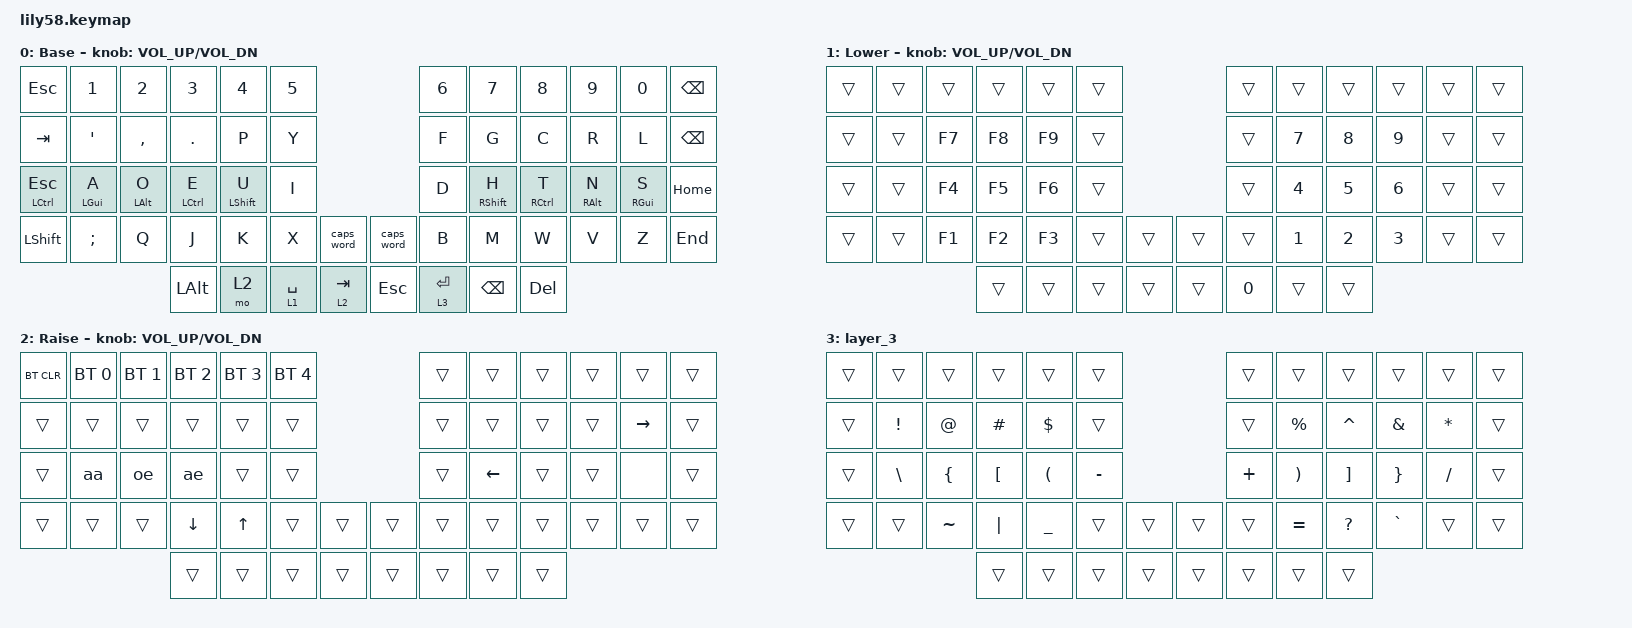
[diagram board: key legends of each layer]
/*
 * Copyright (c) 2020 The ZMK Contributors
 *
 * SPDX-License-Identifier: MIT
 */

#include <behaviors.dtsi>
#include <dt-bindings/zmk/bt.h>
#include <dt-bindings/zmk/keys.h>

&mt {
    hold-trigger-key-positions = <>;
    require-prior-idle-ms = <50>;
    quick-tap-ms = <0>;
    tapping-term-ms = <150>;
    flavor = "balanced";
};

/ {
    behaviors {
        mod: mod {
            compatible = "zmk,behavior-hold-tap";
            label = "MOD";
            bindings = <&mo>, <&kp>;

            #binding-cells = <2>;
            tapping-term-ms = <150>;
            quick-tap-ms = <50>;
            require-prior-idle-ms = <50>;
        };
    };

    macros {
        ae: ae {
            compatible = "zmk,behavior-macro";
            #binding-cells = <0>;
            bindings =
                <&macro_press>,
                <&kp LEFT_ALT>,
                <&macro_tap>,
                <&kp KP_N0 &kp KP_NUMBER_2 &kp KP_NUMBER_3 &kp KP_N0>,
                <&macro_release>,
                <&kp LEFT_ALT>;

            label = "AE";
            wait-ms = <1>;
            tap-ms = <1>;
        };

        aa: aa {
            compatible = "zmk,behavior-macro";
            #binding-cells = <0>;
            bindings =
                <&macro_press>,
                <&kp LEFT_ALT>,
                <&macro_tap>,
                <&kp KP_N0 &kp KP_NUMBER_2 &kp KP_NUMBER_2 &kp KP_NUMBER_9>,
                <&macro_release>,
                <&kp LEFT_ALT>;

            label = "AA";
            wait-ms = <1>;
            tap-ms = <1>;
        };

        oe: oe {
            compatible = "zmk,behavior-macro";
            #binding-cells = <0>;
            bindings =
                <&macro_press>,
                <&kp LEFT_ALT>,
                <&macro_tap>,
                <&kp KP_N0 &kp KP_NUMBER_2 &kp KP_NUMBER_4 &kp KP_NUMBER_8>,
                <&macro_release>,
                <&kp LEFT_ALT>;

            label = "OE";
            wait-ms = <1>;
            tap-ms = <1>;
        };
    };

    keymap {
        compatible = "zmk,keymap";

        default_layer {
            // ------------------------------------------------------------------------------------------------------------
            // |  ESC  |  1  |  2  |  3   |  4   |  5   |                   |  6   |  7    |  8    |  9   |   0   |   `   |
            // |  TAB  |  Q  |  W  |  E   |  R   |  T   |                   |  Y   |  U    |  I    |  O   |   P   |   -   |
            // |  CTRL |  A  |  S  |  D   |  F   |  G   |                   |  H   |  J    |  K    |  L   |   ;   |   '   |
            // | SHIFT |  Z  |  X  |  C   |  V   |  B   |   "["  |  |  "]"  |  N   |  M    |  ,    |  .   |   /   | SHIFT |
            //                     | ALT  | GUI  | LOWER|  SPACE |  | ENTER | RAISE| BSPC  | GUI   |

            label = "Base";
            bindings = <
&kp ESC                  &kp N1          &kp N2          &kp N3              &kp N4            &kp N5                                  &kp N6        &kp N7             &kp N8               &kp N9           &kp N0           &kp BACKSPACE
&kp TAB                  &kp SQT         &kp COMMA       &kp PERIOD          &kp P             &kp Y                                   &kp F         &kp G              &kp C                &kp R            &kp L            &kp BACKSPACE
&mt LEFT_CONTROL ESCAPE  &mt LEFT_GUI A  &mt LEFT_ALT O  &mt LEFT_CONTROL E  &mt LEFT_SHIFT U  &kp I                                   &kp D         &mt RIGHT_SHIFT H  &mt RIGHT_CONTROL T  &mt RIGHT_ALT N  &mt RIGHT_GUI S  &kp HOME
&kp LSHFT                &kp SEMICOLON   &kp Q           &kp J               &kp K             &kp X         &caps_word    &caps_word  &kp B         &kp M              &kp W                &kp V            &kp Z            &kp END
                                                         &kp LALT            &mo 2             &mod 1 SPACE  &mod 2 TAB    &kp ESC     &mod 3 ENTER  &kp BSPC           &kp DEL
            >;

            sensor-bindings = <&inc_dec_kp C_VOL_UP C_VOL_DN>;
        };

        lower_layer {
            // ------------------------------------------------------------------------------------------------------------
            // | BTCLR | BT1 | BT2 |  BT3 |  BT4 |  BT5 |                   |      |       |       |      |       |       |
            // |  F1   |  F2 |  F3 |  F4  |  F5  |  F6  |                   |  F7  |  F8   |  F9   |  F10 |  F11  |  F12  |
            // |   `   |  !  |  @  |  #   |  $   |  %   |                   |  ^   |  &    |  *    |  (   |   )   |   ~   |
            // |       |     |     |      |      |      |        |  |       |      |  _    |  +    |  {   |   }   |  "|"  |
            //                     |      |      |      |        |  |       |      |       |       |

            label = "Lower";
            bindings = <
&trans  &trans  &trans  &trans  &trans  &trans                    &trans        &trans        &trans        &trans        &trans  &trans
&trans  &trans  &kp F7  &kp F8  &kp F9  &trans                    &trans        &kp N7        &kp N8        &kp N9        &trans  &trans
&trans  &trans  &kp F4  &kp F5  &kp F6  &trans                    &trans        &kp NUMBER_4  &kp N5        &kp NUMBER_6  &trans  &trans
&trans  &trans  &kp F1  &kp F2  &kp F3  &trans  &trans    &trans  &trans        &kp NUMBER_1  &kp NUMBER_2  &kp NUMBER_3  &trans  &trans
                        &trans  &trans  &trans  &trans    &trans  &kp NUMBER_0  &trans        &trans
            >;

            sensor-bindings = <&inc_dec_kp C_VOL_UP C_VOL_DN>;
        };

        raise_layer {
            // ------------------------------------------------------------------------------------------------------------
            // |       |     |     |      |      |      |                   |      |       |       |      |       |       |
            // |   `   |  1  |  2  |  3   |  4   |  5   |                   |  6   |   7   |   8   |  9   |   0   |       |
            // |   F1  |  F2 |  F3 |  F4  |  F5  |  F6  |                   |      |   <-  |   v   |  ^   |  ->   |       |
            // |   F7  |  F8 |  F9 |  F10 |  F11 |  F12 |        |  |       |  +   |   -   |   =   |  [   |   ]   |   \   |
            //                     |      |      |      |        |  |       |      |       |       |

            label = "Raise";
            bindings = <
&bt BT_CLR  &bt BT_SEL 0  &bt BT_SEL 1  &bt BT_SEL 2    &bt BT_SEL 3  &bt BT_SEL 4                    &trans  &trans    &trans  &trans  &trans     &trans
&trans      &trans        &trans        &trans          &trans        &trans                          &trans  &trans    &trans  &trans  &kp RIGHT  &trans
&trans      &aa           &oe           &ae             &trans        &trans                          &trans  &kp LEFT  &trans  &trans  &none      &trans
&trans      &trans        &trans        &kp DOWN_ARROW  &kp UP_ARROW  &trans        &trans    &trans  &trans  &trans    &trans  &trans  &trans     &trans
                                        &trans          &trans        &trans        &trans    &trans  &trans  &trans    &trans
            >;

            sensor-bindings = <&inc_dec_kp C_VOL_UP C_VOL_DN>;
        };

        layer_3 {
            bindings = <
&trans  &trans           &trans          &trans            &trans                &trans                       &trans    &trans                 &trans             &trans           &trans     &trans
&trans  &kp EXCLAMATION  &kp AT_SIGN     &kp HASH          &kp DOLLAR            &trans                       &trans    &kp PERCENT            &kp CARET          &kp AMPERSAND    &kp ASTRK  &trans
&trans  &kp BACKSLASH    &kp LEFT_BRACE  &kp LEFT_BRACKET  &kp LEFT_PARENTHESIS  &kp MINUS                    &kp PLUS  &kp RIGHT_PARENTHESIS  &kp RIGHT_BRACKET  &kp RIGHT_BRACE  &kp SLASH  &trans
&trans  &trans           &kp TILDE       &kp PIPE          &kp UNDER             &trans     &trans    &trans  &trans    &kp EQUAL              &kp QUESTION       &kp GRAVE        &trans     &trans
                                         &trans            &trans                &trans     &trans    &trans  &trans    &trans                 &trans
            >;
        };
    };
};
